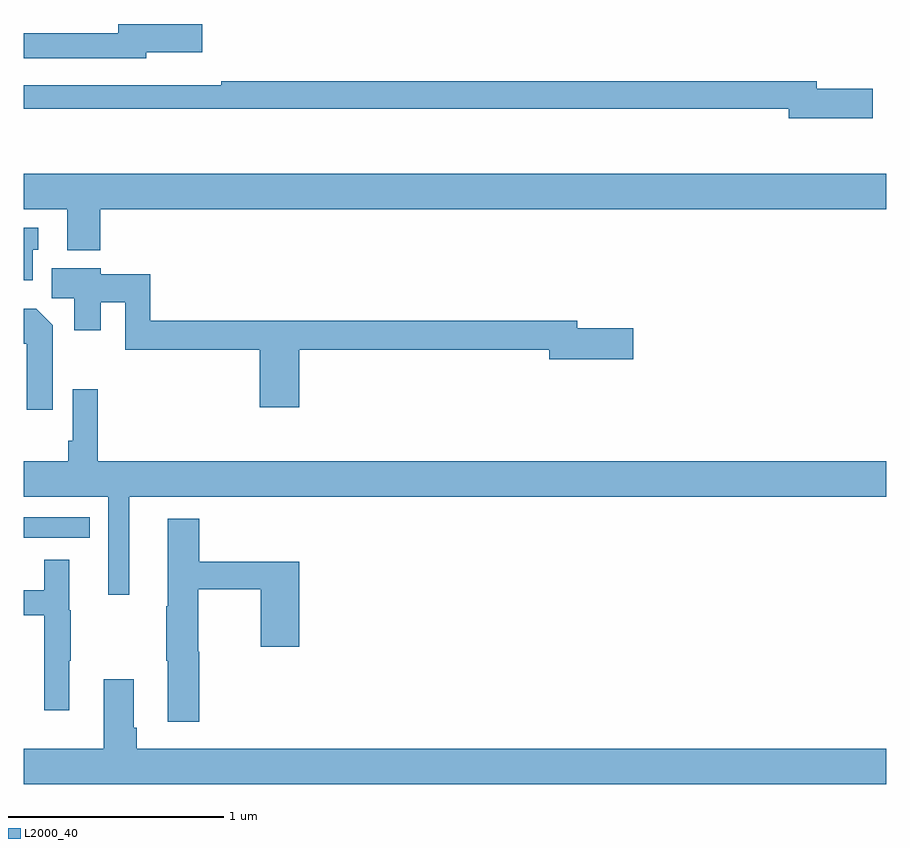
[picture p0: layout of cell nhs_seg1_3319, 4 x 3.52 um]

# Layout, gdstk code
import gdstk
lib = gdstk.Library(unit=1e-6, precision=1e-09)
def R(c, l, rs):  # rectangles x0, y0, x1, y1
    for r in rs: c.add(gdstk.rectangle(r[:2], r[2:], *l))
def P(c, l, *ps):  # polygons
    for p in ps: c.add(gdstk.Polygon(p, *l))
L2000_40 = (2000, 40)

nhs_seg1_3319 = lib.new_cell('nhs_seg1_3319')
R(nhs_seg1_3319, L2000_40, [(291,527.565,291.308,527.661)])
P(nhs_seg1_3319, L2000_40, [(291.568,529.817),(291.829,529.817),(291.829,529.947),(291.44,529.947),(291.44,529.904),(291,529.904),(291,529.788),(291.568,529.788)],
  [(294.937,529.646),(294.676,529.646),(294.676,529.682),(291.916,529.682),(291.916,529.663),(291.664,529.663),(291.664,529.662),(291,529.662),(291,529.554),(294.548,529.554),(294.548,529.511),(294.937,529.511)],
  [(291.356,529.088),(295,529.088),(295,529.252),(291,529.252),(291,529.088),(291.203,529.088),(291.203,528.899),(291.356,528.899)],
  [(291.043,528.9),(291.067,528.9),(291.067,529.003),(291,529.003),(291,528.758),(291.043,528.758)],
  [(292.277,528.436),(293.438,528.436),(293.438,528.394),(293.827,528.394),(293.827,528.536),(293.566,528.536),(293.566,528.572),(291.587,528.572),(291.587,528.787),(291.358,528.787),(291.358,528.814),(291.131,528.814),(291.131,528.676),(291.236,528.676),(291.236,528.528),(291.358,528.528),(291.358,528.658),(291.471,528.658),(291.471,528.436),(292.094,528.436),(292.094,528.171),(292.277,528.171)],
  [(291.136,528.55),(291.058,528.628),(291,528.628),(291,528.464),(291.014,528.464),(291.014,528.159),(291.136,528.159)],
  [(291.49,527.756),(295,527.756),(295,527.92),(291.344,527.92),(291.344,528.253),(291.228,528.253),(291.228,528.016),(291.208,528.016),(291.208,527.92),(291,527.92),(291,527.756),(291.393,527.756),(291.393,527.301),(291.49,527.301)],
  [(291.815,527.037),(291.81,527.037),(291.81,527.326),(292.099,527.326),(292.099,527.061),(292.277,527.061),(292.277,527.455),(291.815,527.455),(291.815,527.653),(291.668,527.653),(291.668,527.249),(291.661,527.249),(291.661,526.996),(291.668,526.996),(291.668,526.713),(291.815,526.713)],
  [(291.211,526.996),(291.219,526.996),(291.219,527.229),(291.211,527.229),(291.211,527.464),(291.095,527.464),(291.095,527.323),(291,527.323),(291,527.206),(291.095,527.206),(291.095,526.767),(291.211,526.767)],
  [(295,526.588),(291.524,526.588),(291.524,526.684),(291.511,526.684),(291.511,526.909),(291.371,526.909),(291.371,526.588),(291,526.588),(291,526.424),(295,526.424)])

lib.write_gds('nhs_seg1_3319.gds')
